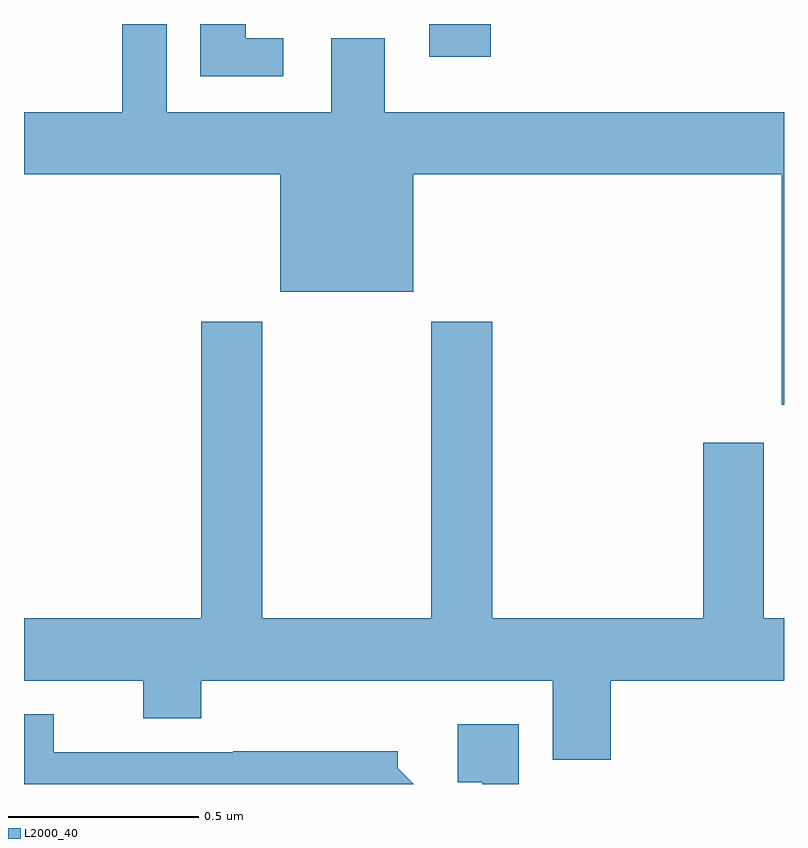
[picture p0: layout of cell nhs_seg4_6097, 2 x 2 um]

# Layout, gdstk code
import gdstk
lib = gdstk.Library(unit=1e-6, precision=1e-09)
def R(c, l, rs):  # rectangles x0, y0, x1, y1
    for r in rs: c.add(gdstk.rectangle(r[:2], r[2:], *l))
def P(c, l, *ps):  # polygons
    for p in ps: c.add(gdstk.Polygon(p, *l))
L2000_40 = (2000, 40)

nhs_seg4_6097 = lib.new_cell('nhs_seg4_6097')
R(nhs_seg4_6097, L2000_40, [(187.067,779.814,187.228,779.9)])
P(nhs_seg4_6097, L2000_40, [(188,779.668),(186.949,779.668),(186.949,779.863),(186.809,779.863),(186.809,779.668),(186.375,779.668),(186.375,779.9),(186.259,779.9),(186.259,779.668),(186,779.668),(186,779.504),(186.674,779.504),(186.674,779.195),(187.024,779.195),(187.024,779.504),(187.994,779.504),(187.994,778.898),(188,778.898)],
  [(186.682,779.863),(186.583,779.863),(186.583,779.9),(186.464,779.9),(186.464,779.762),(186.682,779.762)],
  [(187.544,778.172),(188,778.172),(188,778.336),(187.947,778.336),(187.947,778.798),(187.787,778.798),(187.787,778.336),(187.232,778.336),(187.232,779.116),(187.072,779.116),(187.072,778.336),(186.627,778.336),(186.627,779.116),(186.467,779.116),(186.467,778.336),(186,778.336),(186,778.172),(186.314,778.172),(186.314,778.073),(186.467,778.073),(186.467,778.172),(187.391,778.172),(187.391,777.964),(187.544,777.964)],
  [(186.984,777.941),(186.984,777.986),(186.55,777.986),(186.55,777.984),(186.078,777.984),(186.078,778.083),(186,778.083),(186,777.9),(187.025,777.9)],
  [(187.302,778.057),(187.141,778.057),(187.141,777.905),(187.206,777.905),(187.206,777.9),(187.302,777.9)])

lib.write_gds('nhs_seg4_6097.gds')
